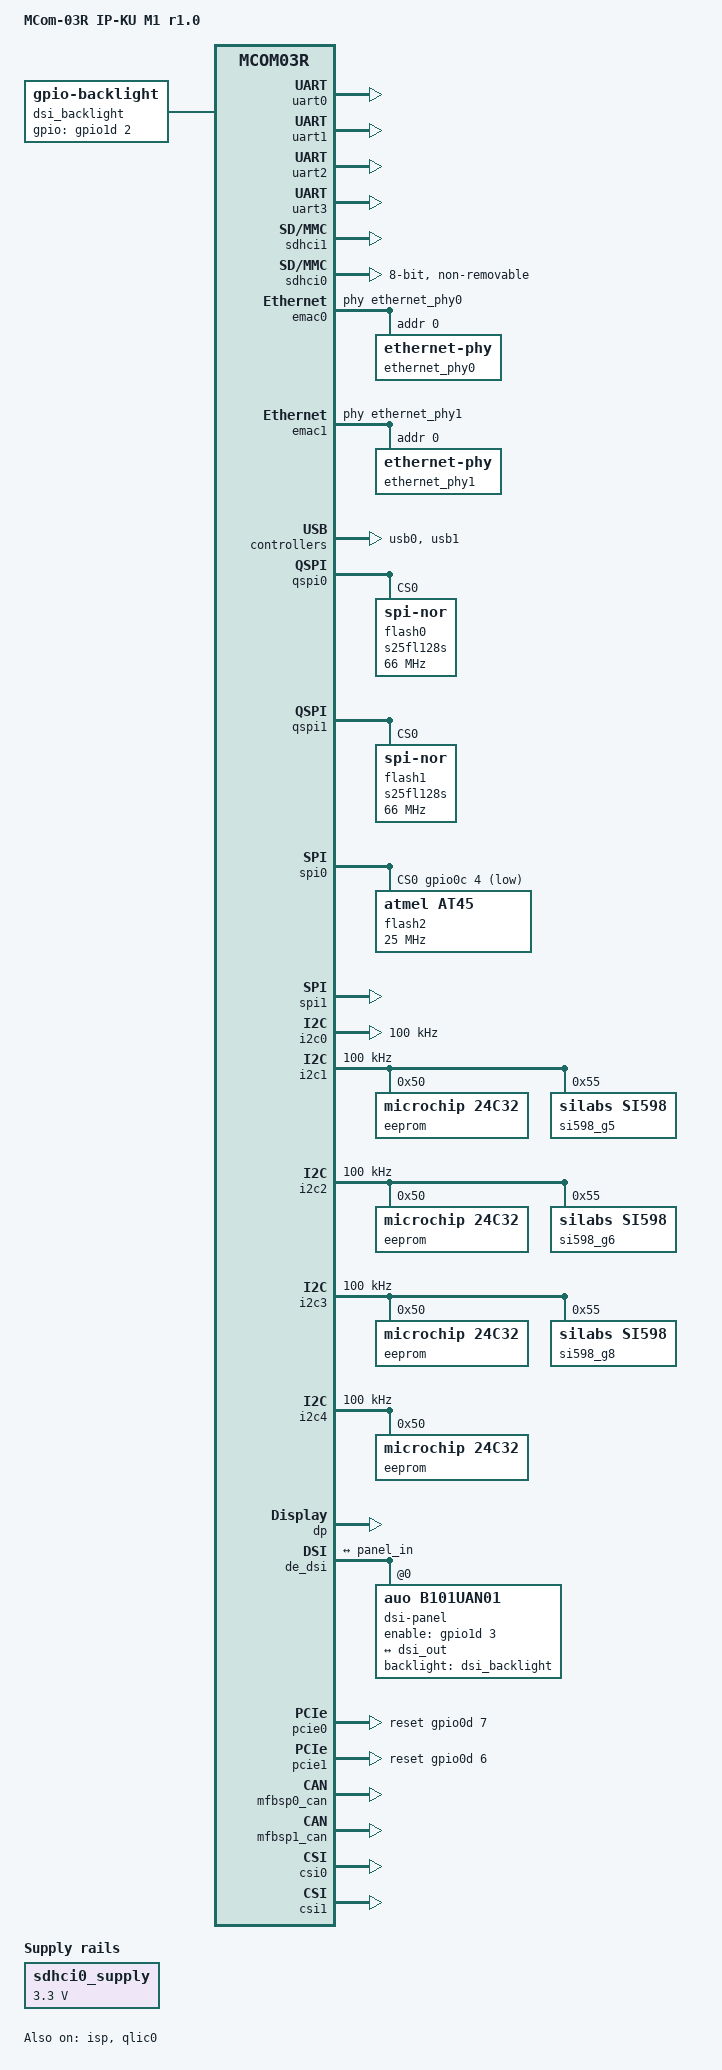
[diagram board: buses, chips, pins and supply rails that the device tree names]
// SPDX-License-Identifier: GPL-2.0+
// Copyright 2025 RnD Center "ELVEES", JSC

/dts-v1/;

#include <dt-bindings/gpio/gpio.h>
#include <dt-bindings/net/ti-dp83869.h>

#include "mcom03r.dtsi"

/ {
	model = "MCom-03R IP-KU M1 r1.0";
	compatible = "elvees,mcom03r-ipku-m1-r1.0",
		     "elvees,mcom03r-ipku-m1",
		     "elvees,mcom03r";

	aliases {
		spi2 = &spi0;
		spi3 = &spi1;
	};

	chosen {
		stdout-path = "serial0:115200n8";
		bootargs = "earlycon console=ttyS0,115200";
	};

	sdhci0_supply: regulator@0 {
		compatible = "regulator-fixed";
		regulator-name = "sdhci0-supply";
		regulator-min-microvolt = <3300000>;
		regulator-max-microvolt = <3300000>;
		regulator-always-on;
	};

	dsi_backlight: dsi-backlight {
		compatible = "gpio-backlight";
		gpios = <&gpio1d 2 GPIO_ACTIVE_HIGH>;
		default-on;
	};
};

&gpio0a {
	gpio-line-names = "UART3_SIN", "UART3_SOUT", "UART3_CTS_N", "UART3_DSR_N",
			  "UART3_DCD_N", "UART3_RI_N", "PCI0_WAKEn", "PCI1_WAKEn";
};

&gpio0b {
	gpio-line-names = "UART3_OUT1_N", "UART3_OUT2_N", "UART3_DE", "UART3_RE",
			  "UART3_RS485_EN", "UART1_SIN", "UART1_SOUT", "UART2_SIN";
};

&gpio0c {
	gpio-line-names = "SPI0_SCLK_OUT_FL", "SPI0_TXD_FL", "SPI0_RXD_FL",
			  "SPI0_SS_IN", "SPI0_SS_0_FL", "SPI0_SS_1", "SPI0_SS_2",
			  "SPI0_SS_3";
};

&gpio0d {
	gpio-line-names = "UART2_SOUT", "UART2_SIR_IN18", "UART2_SIR_OUT_N18",
			  "I2C0_SCL18", "I2C0_SDA18", "I2C0_SMBALERT18", "PCI1_PERSTn",
			  "PCI0_PERSTn";
};

&gpio1a {
	gpio-line-names = "I2C1_SCL", "I2C1_SDA", "I2C2_SCL", "I2C2_SDA",
			  "I2C3_SCL", "I2C3_SDA", "USB0_H_D_switch", "USB1_H_D_switch";
};

&gpio1b {
	gpio-line-names = "I2S0_SCLK_OUT", "I2S0_WS", "I2S0_SDO0", "I2S0_SDO1",
			  "I2S0_SDI0", "I2S0_SCLK_IN", "UART0_SOUT", "UART0_SIN";
};

&gpio1c {
	gpio-line-names = "SSI1_SCLK_OUT", "SSI1_TXD", "SSI1_RXD", "SSI1_SS_0_N",
			  "SSI1_SS_1_N", "SSI1_SS_2_N", "SSI1_SS_3_N", "SSI1_SS_IN_N";
};

&gpio1d {
	gpio-line-names = "TIMERS_TOGGLE_0", "TIMERS_TOGGLE_1", "AUO_PWM",
			  "AUO_EN", "CAM1_nRST", "CAM1_nPWR", "CAM0_nRST", "CAM0_nPWR";
};

&uart0 {
	status = "okay";
};

&uart1 {
	status = "okay";
};

&uart2 {
	status = "okay";
};

&uart3 {
	status = "okay";
	pinctrl-0 = <&uart3_mux_data &uart3_mux_rtscts>;
};

&sdhci1 {
	status = "okay";

	/* Disable 1.8V support
	 * Disable SDR50, SDR104 and DDR50 support
	 */
	sdhci-caps-mask = <0x7 0x4000000>;
	sdhci-caps = <0x0 0x0>;

	/* Adjust SDMMC XIN clock frequencies to get better performance
	 * of SD and eMMC.
	 */
	assigned-clocks = <&hsperiph_clocks CLK_HSP_UCG1_SDMMC1_XIN>;
	assigned-clock-rates = <93750000>;

	sdhci,wp-inverted;
};

&sdhci0 {
	status = "okay";
	non-removable;
	bus-width = <8>;
	vqmmc-supply = <&sdhci0_supply>;

	/* Adjust SDMMC XIN clock frequencies to get better performance
	 * of eMMC in High-Speed mode (without 1.8V).
	 */
	assigned-clocks = <&hsperiph_clocks CLK_HSP_UCG1_SDMMC0_XIN>;
	assigned-clock-rates = <93750000>;
};

&sdhci0_default {
	/* The default clock pad drive strength of 6 mA is insufficient
	 * for some IP-KUs resulting in unstable SDMMC performance
	 */
	clk {
		pins = "SDMMC0_CLK";
		drive-strength = <8>;
	};
};

&hsperiph_pinctrl {
	pinctrl-0 = <&hsperiph_misc_default>;
};

&emac0_default {
	tx_data {
		groups = "emac0_tx";
		drive-strength = <12>;
	};

	txc {
		pins = "EMAC0_RGMII_TXC";
		drive-strength = <12>;
	};
};

&emac1_default {
	tx_data {
		groups = "emac1_tx";
		drive-strength = <12>;
	};

	txc {
		pins = "EMAC1_RGMII_TXC";
		drive-strength = <12>;
	};
};

&emac0 {
	status = "okay";
	phy-handle = <&ethernet_phy0>;

	ethernet_phy0: ethernet-phy@0 {
		reg = <0x0>;
		ti,op-mode = <DP83869_RGMII_COPPER_ETHERNET>;
		tx-internal-delay-ps = <2000>;
		/* Falling edge on RGMII TX is too slow for unknown reason.
		* 100 Mbps may still be unstable.
		*/
		max-speed = <100>;
	};
};

&emac1 {
	status = "okay";
	phy-handle = <&ethernet_phy1>;

	ethernet_phy1: ethernet-phy@0 {
		reg = <0x0>;
		ti,op-mode = <DP83869_RGMII_COPPER_ETHERNET>;
		tx-internal-delay-ps = <2000>;
		/* Falling edge on RGMII TX is too slow for unknown reason.
		* 100 Mbps may still be unstable.
		*/
		max-speed = <100>;
	};
};

&usb0 {
	status = "okay";

	dwc3@10000000 {
		dr_mode = "otg";
	};
};

&usb1 {
	status = "okay";

	dwc3@10100000 {
		dr_mode = "otg";
	};
};

&qspi0 {
	status = "okay";

	flash0: s25fl128s@0 {
		#address-cells = <1>;
		#size-cells = <1>;
		compatible = "jedec,spi-nor", "spi-flash";
		reg = <0x0>;
		spi-max-frequency = <66000000>;
	};
};

&qspi1 {
	status = "okay";

	flash1: s25fl128s@0 {
		#address-cells = <1>;
		#size-cells = <1>;
		compatible = "jedec,spi-nor", "spi-flash";
		reg = <0x0>;
		spi-max-frequency = <66000000>;
	};
};

&spi0 {
	status = "okay";

	num-cs = <1>;
	cs-gpios = <&gpio0c 4 GPIO_ACTIVE_LOW>;

	flash2: at45db041e@0 {
		#address-cells = <1>;
		#size-cells = <1>;
		compatible = "atmel,at45", "atmel,dataflash";
		spi-max-frequency = <25000000>; // up to 85 MHz for Continuous Read
		reg = <0x0>;
	};
};

&spi1 {
	status = "okay";
};

&i2c0 {
	clock-frequency = <100000>;
	status = "okay";
	pinctrl-0 = <&i2c0_mux_data>;
	/* - Connector PLD XP89
	 * - 0x50, 0x30 - EEPROM AT34C04 DD67 (up to 1 MHz)
	 * - 0x51, 0x31 - EEPROM AT34C04 DD68 (up to 1 MHz)
	 * - Level Shifter (3.3V)
	 *     - Connector CAM0 (CSI0) XS15
	 * - Level Shifter (3.3V)
	 *     - 0x1b - FAN TC664 DA86 (100 kHz)
	 */
};

// Required PullUp for I2C because extarnal PullUp on the board is missing.
&i2c1_default_cfg {
	scl-sda-pins {
		input-enable;
		bias-pull-up;
	};
};

&i2c2_default_cfg {
	scl-sda-pins {
		input-enable;
		bias-pull-up;
	};
};

&i2c3_default_cfg {
	scl-sda-pins {
		input-enable;
		bias-pull-up;
	};
};

&i2c1 {
	clock-frequency = <100000>;
	status = "okay";
	/* - Connector PLS XP99
	 * - Level Shifter (1.8V)
	 *     - Level Shifter (2.5V)
	 *         - Si598 G5 (400 kHz)
	 */
	// This is not part of board, installed for testing purposes.
	eeprom@50 {
		compatible = "microchip,24c32", "atmel,24c32";
		reg = <0x50>;
	};

	si598_g5: clock-generator-g5@55 {
		#clock-cells = <0>;
		compatible = "silabs,si598";
		temperature-stability = <20>;
		reg = <0x55>;
		factory-fout = <250000000>;
	};
};

&i2c2 {
	clock-frequency = <100000>;
	status = "okay";
	/* - Connector PLS XP100
	 * - Level Shifter (1.8V)
	 *     - Level Shifter (2.5V)
	 *         - Si598 G6 (400 kHz)
	 */
	// This is not part of board, installed for testing purposes.
	eeprom@50 {
		compatible = "microchip,24c32", "atmel,24c32";
		reg = <0x50>;
	};

	si598_g6: clock-generator-g6@55 {
		#clock-cells = <0>;
		compatible = "silabs,si598";
		temperature-stability = <20>;
		reg = <0x55>;
		factory-fout = <250000000>;
	};
};

&i2c3 {
	clock-frequency = <100000>;
	status = "okay";
	/* - Connector PLS XP101
	 * - Level Shifter (1.8V)
	 *     - Level Shifter (2.5V)
	 *         - Si598 G8 (400 kHz)
	 */
	// This is not part of board, installed for testing purposes.
	eeprom@50 {
		compatible = "microchip,24c32", "atmel,24c32";
		reg = <0x50>;
	};

	si598_g8: clock-generator-g8@55 {
		#clock-cells = <0>;
		compatible = "silabs,si598";
		temperature-stability = <20>;
		reg = <0x55>;
		factory-fout = <250000000>;
	};
};

&i2c4 {
	clock-frequency = <100000>;
	status = "okay";
	/* - Connector PLS XP83
	 * - Connector Disaplay (DSI) XS14
	 * - Level Shifter (3.3V)
	 *     - Connector CAM1 (CSI1) XS16
	 */
	// This is not part of board, installed for testing purposes.
	eeprom@50 {
		compatible = "microchip,24c32", "atmel,24c32";
		reg = <0x50>;
	};
};

&dp {
	status = "okay";
};

&de_dsi {
	status = "okay";
	dsi-min-clock-frequency = <500000000>;

	dsi-panel@0 {
		#address-cells = <1>;
		#size-cells = <0>;
		compatible = "auo,b101uan01";
		reg = <0>;
		backlight = <&dsi_backlight>;
		enable-gpios = <&gpio1d 3 GPIO_ACTIVE_HIGH>;

		ports {
			port {
				panel_in: endpoint {
					remote-endpoint = <&dsi_out>;
				};
			};
		};
	};

	ports {
		port@1 {
			reg = <1>;

			dsi_out: endpoint {
				remote-endpoint = <&panel_in>;
			};
		};
	};
};

&pcie0 {
	status = "okay";
	reset-gpio = <&gpio0d 7 GPIO_ACTIVE_HIGH>;
};

&pcie1 {
	status = "okay";
	reset-gpio = <&gpio0d 6 GPIO_ACTIVE_HIGH>;
};

&isp {
	status = "okay";
};

&mfbsp0_can {
	status = "okay";
};

&mfbsp0_gpio {
	status = "okay";
	gpio-line-names = "MFBSP0_ACK", "MFBSP0_CLK", "MFBSP0_D0", "MFBSP0_D1",
		"MFBSP0_D2", "MFBSP0_D3", "MFBSP0_D4", "MFBSP0_D5", "MFBSP0_D6",
		"MFBSP0_D7";
	gpio-reserved-ranges = <8 24>; // D6, D7 is used by CAN
};

&mfbsp1_can {
	status = "okay";
};

&mfbsp1_gpio {
	status = "okay";
	gpio-line-names = "MFBSP1_ACK", "MFBSP1_CLK", "MFBSP1_D0", "MFBSP1_D1",
		"MFBSP1_D2", "MFBSP1_D3", "MFBSP1_D4", "MFBSP1_D5", "MFBSP1_D6",
		"MFBSP1_D7";
	gpio-reserved-ranges = <8 24>; // D6, D7 is used by CAN
};

&qlic0 {
	status = "okay";
};

&csi0 {
	status = "okay";
	reset_gpio = <&gpio1d 6 GPIO_ACTIVE_HIGH>;
	pwdn_gpio = <&gpio1d 7 GPIO_ACTIVE_HIGH>;
};

&csi1 {
	status = "okay";
	reset_gpio = <&gpio1d 4 GPIO_ACTIVE_HIGH>;
	pwdn_gpio = <&gpio1d 5 GPIO_ACTIVE_HIGH>;
};
